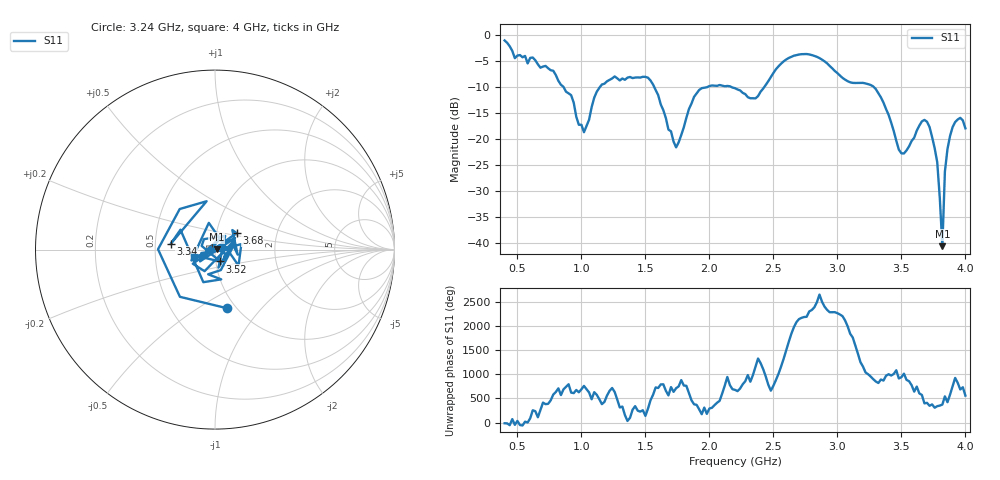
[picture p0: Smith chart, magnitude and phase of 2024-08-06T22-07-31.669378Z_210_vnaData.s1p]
!Created with skrf (http://scikit-rf.org).
# Hz S RI R 50.0
!freq ReS11 ImS11
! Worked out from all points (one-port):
!   181 points, 400 MHz to 4 GHz, reference 50 ohm
!   lowest |S11| = -40.6 dB at 3.82 GHz (marker M1), VSWR 1.02, Z = 50.9 + j0.208 ohm
!   |S11| at or under -10 dB: 857.4 MHz to 1.147 GHz (289.9 MHz wide, 28.9 % of centre); 1.568 GHz to 1.991 GHz (423.2 MHz wide, 23.8 % of centre); 3.281 GHz to end of sweep (the widest 3 of 4)
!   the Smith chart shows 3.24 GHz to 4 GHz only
!   S11 on the Smith chart (normalised r, x): 3.24 GHz: 0.91, -0.67; 3.34 GHz: 0.60, +0.04; 3.52 GHz: 1.05, -0.14; 3.68 GHz: 1.25, +0.24; 4 GHz: 0.78, -0.06
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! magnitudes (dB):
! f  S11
! 400 MHz  -1.1
! 480 MHz  -4.5
! 620 MHz  -4.4
! 860 MHz  -10.1
! 1.02 GHz  -18.8
! 1.14 GHz  -10.2
! 1.3 GHz  -8.8
! 1.52 GHz  -8.3
! 1.74 GHz  -21.7
! 1.76 GHz  -20.7
! 1.92 GHz  -10.7
! 2.2 GHz  -10.3
! 2.36 GHz  -12.3
! 2.66 GHz  -4.1
! 2.84 GHz  -4.3
! 3.1 GHz  -9.2
! 3.24 GHz  -9.5
! 3.34 GHz  -12.1
! 3.52 GHz  -22.8
! 3.56 GHz  -21.5
! 3.68 GHz  -16.4
! 3.72 GHz  -17.8
! 3.78 GHz  -24.5
! 3.82 GHz  -40.6
! 3.84 GHz  -26.3
! 3.86 GHz  -22.0
! 3.92 GHz  -16.8
! 4 GHz  -18.0
